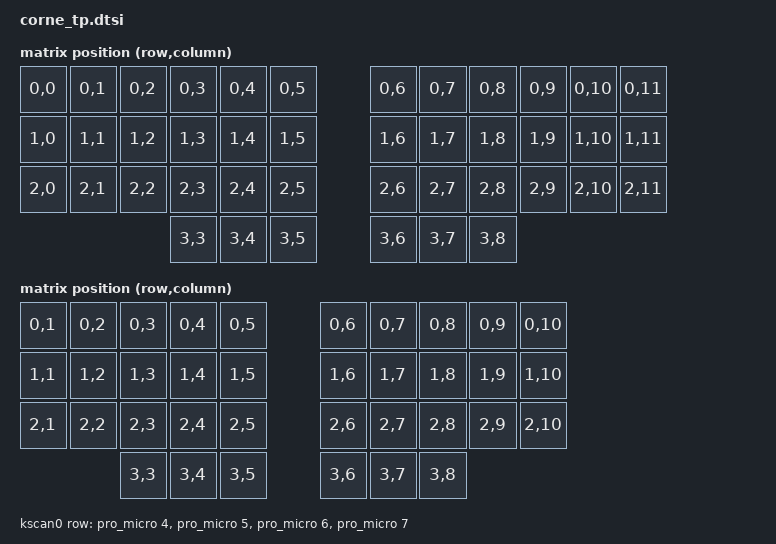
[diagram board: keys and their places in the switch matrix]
/*
 * Copyright (c) 2024
 * SPDX-License-Identifier: MIT
 *
 * Corne with Trackpoint - Base devicetree include
 * Based on standard Corne layout for Typeractive Corne
 */

#include <dt-bindings/zmk/matrix_transform.h>

/ {
    chosen {
        zmk,kscan = &kscan0;
        zmk,matrix-transform = &default_transform;
    };

    default_transform: keymap_transform_0 {
        compatible = "zmk,matrix-transform";
        columns = <12>;
        rows = <4>;
        // | SW1  | SW2  | SW3  | SW4  | SW5  | SW6  |   | SW6  | SW5  | SW4  | SW3  | SW2  | SW1  |
        // | SW7  | SW8  | SW9  | SW10 | SW11 | SW12 |   | SW12 | SW11 | SW10 | SW9  | SW8  | SW7  |
        // | SW13 | SW14 | SW15 | SW16 | SW17 | SW18 |   | SW18 | SW17 | SW16 | SW15 | SW14 | SW13 |
        //                      | SW19 | SW20 | SW21 |   | SW21 | SW20 | SW19 |
        map = <
            RC(0,0) RC(0,1) RC(0,2) RC(0,3) RC(0,4) RC(0,5)  RC(0,6) RC(0,7) RC(0,8) RC(0,9) RC(0,10) RC(0,11)
            RC(1,0) RC(1,1) RC(1,2) RC(1,3) RC(1,4) RC(1,5)  RC(1,6) RC(1,7) RC(1,8) RC(1,9) RC(1,10) RC(1,11)
            RC(2,0) RC(2,1) RC(2,2) RC(2,3) RC(2,4) RC(2,5)  RC(2,6) RC(2,7) RC(2,8) RC(2,9) RC(2,10) RC(2,11)
                                    RC(3,3) RC(3,4) RC(3,5)  RC(3,6) RC(3,7) RC(3,8)
        >;
    };

    five_column_transform: keymap_transform_1 {
        compatible = "zmk,matrix-transform";
        columns = <10>;
        rows = <4>;
        map = <
            RC(0,1) RC(0,2) RC(0,3) RC(0,4) RC(0,5)  RC(0,6) RC(0,7) RC(0,8) RC(0,9) RC(0,10)
            RC(1,1) RC(1,2) RC(1,3) RC(1,4) RC(1,5)  RC(1,6) RC(1,7) RC(1,8) RC(1,9) RC(1,10)
            RC(2,1) RC(2,2) RC(2,3) RC(2,4) RC(2,5)  RC(2,6) RC(2,7) RC(2,8) RC(2,9) RC(2,10)
                                    RC(3,3) RC(3,4) RC(3,5)  RC(3,6) RC(3,7) RC(3,8)
        >;
    };

    kscan0: kscan {
        compatible = "zmk,kscan-gpio-matrix";
        wakeup-source;
        diode-direction = "col2row";

        row-gpios
            = <&pro_micro 4 (GPIO_ACTIVE_HIGH | GPIO_PULL_DOWN)>
            , <&pro_micro 5 (GPIO_ACTIVE_HIGH | GPIO_PULL_DOWN)>
            , <&pro_micro 6 (GPIO_ACTIVE_HIGH | GPIO_PULL_DOWN)>
            , <&pro_micro 7 (GPIO_ACTIVE_HIGH | GPIO_PULL_DOWN)>
            ;
    };

    /*
     * Split input for the TrackPoint.
     *
     * The TrackPoint is wired to the RIGHT half (peripheral). This node must
     * be identical in both halves (same reg). On the right half it is pointed
     * at the PS/2 mouse device and forwards its events over BLE; on the left
     * half (central) it acts as an input device that re-raises those events.
     */
    split_inputs {
        #address-cells = <1>;
        #size-cells = <0>;

        trackpoint_split: trackpoint_split@0 {
            compatible = "zmk,input-split";
            reg = <0>;
        };
    };

    /*
     * Listener that turns the split input events into HID mouse reports.
     * Disabled here, enabled only in the central (left) overlay.
     */
    trackpoint_listener: trackpoint_listener {
        compatible = "zmk,input-listener";
        status = "disabled";
        device = <&trackpoint_split>;
    };
};
